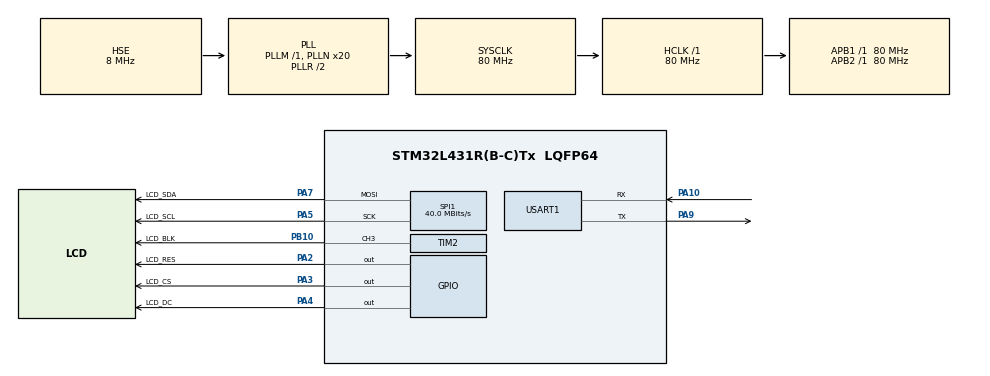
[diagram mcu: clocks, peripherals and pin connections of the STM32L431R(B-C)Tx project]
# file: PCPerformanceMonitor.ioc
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Dma.Request0=USART1_RX
Dma.Request1=SPI1_TX
Dma.SPI1_TX.1.Direction=DMA_MEMORY_TO_PERIPH
Dma.SPI1_TX.1.Instance=DMA1_Channel3
Dma.SPI1_TX.1.MemDataAlignment=DMA_MDATAALIGN_HALFWORD
Dma.SPI1_TX.1.MemInc=DMA_MINC_ENABLE
Dma.SPI1_TX.1.Mode=DMA_NORMAL
Dma.SPI1_TX.1.PeriphDataAlignment=DMA_PDATAALIGN_HALFWORD
Dma.SPI1_TX.1.PeriphInc=DMA_PINC_DISABLE
Dma.SPI1_TX.1.Priority=DMA_PRIORITY_LOW
Dma.USART1_RX.0.Direction=DMA_PERIPH_TO_MEMORY
Dma.USART1_RX.0.Instance=DMA1_Channel5
Dma.USART1_RX.0.MemDataAlignment=DMA_MDATAALIGN_BYTE
Dma.USART1_RX.0.MemInc=DMA_MINC_ENABLE
Dma.USART1_RX.0.Mode=DMA_NORMAL
Dma.USART1_RX.0.PeriphDataAlignment=DMA_PDATAALIGN_BYTE
Dma.USART1_RX.0.PeriphInc=DMA_PINC_DISABLE
Dma.USART1_RX.0.Priority=DMA_PRIORITY_MEDIUM
Mcu.Family=STM32L4
Mcu.Name=STM32L431R(B-C)Tx
Mcu.Package=LQFP64
NVIC.DMA1_Channel3_IRQn=true\:14\:0\:true\:false\:true\:false\:true\:true
NVIC.DMA1_Channel5_IRQn=true\:13\:0\:true\:false\:true\:false\:true\:true
NVIC.PriorityGroup=NVIC_PRIORITYGROUP_4
NVIC.TIM1_BRK_TIM15_IRQn=true\:10\:0\:true\:false\:true\:true\:true\:true
NVIC.TIM7_IRQn=true\:0\:0\:true\:false\:true\:false\:true\:true
NVIC.TimeBase=TIM7_IRQn
NVIC.TimeBaseIP=TIM7
NVIC.USART1_IRQn=true\:15\:0\:true\:false\:true\:true\:true\:true
PA10.Mode=Asynchronous
PA10.Signal=USART1_RX
PA13\ (JTMS-SWDIO).Mode=Serial_Wire
PA13\ (JTMS-SWDIO).Signal=SYS_JTMS-SWDIO
PA14\ (JTCK-SWCLK).Mode=Serial_Wire
PA14\ (JTCK-SWCLK).Signal=SYS_JTCK-SWCLK
PA2.GPIO_Label=LCD_RES
PA2.GPIO_Speed=GPIO_SPEED_FREQ_HIGH
PA2.PinState=GPIO_PIN_SET
PA2.Signal=GPIO_Output
PA3.GPIO_Label=LCD_CS
PA3.GPIO_Speed=GPIO_SPEED_FREQ_HIGH
PA3.PinState=GPIO_PIN_SET
PA3.Signal=GPIO_Output
PA4.GPIO_Label=LCD_DC
PA4.GPIO_Speed=GPIO_SPEED_FREQ_HIGH
PA4.PinState=GPIO_PIN_SET
PA4.Signal=GPIO_Output
PA5.GPIO_Label=LCD_SCL
PA5.Mode=TX_Only_Simplex_Unidirect_Master
PA5.Signal=SPI1_SCK
PA7.GPIO_Label=LCD_SDA
PA7.Mode=TX_Only_Simplex_Unidirect_Master
PA7.Signal=SPI1_MOSI
PA9.Mode=Asynchronous
PA9.Signal=USART1_TX
PB10.GPIO_Label=LCD_BLK
PB10.GPIO_Speed=GPIO_SPEED_FREQ_LOW
PB10.Signal=S_TIM2_CH3
PH0-OSC_IN\ (PH0).Mode=HSE-External-Oscillator
PH0-OSC_IN\ (PH0).Signal=RCC_OSC_IN
PH1-OSC_OUT\ (PH1).Mode=HSE-External-Oscillator
PH1-OSC_OUT\ (PH1).Signal=RCC_OSC_OUT
ProjectManager.HeapSize=0x200
ProjectManager.StackSize=0x800
ProjectManager.TargetToolchain=MDK-ARM V5.32
RCC.ADCFreq_Value=32000000
RCC.AHBFreq_Value=80000000
RCC.APB1Freq_Value=80000000
RCC.APB1TimFreq_Value=80000000
RCC.APB2Freq_Value=80000000
RCC.APB2TimFreq_Value=80000000
RCC.CortexFreq_Value=80000000
RCC.HCLKFreq_Value=80000000
RCC.HSE_VALUE=8000000
RCC.HSI48_VALUE=48000000
RCC.HSI_VALUE=16000000
RCC.LSE_VALUE=32768
RCC.MSI_VALUE=4000000
RCC.PLLN=20
RCC.PLLSourceVirtual=RCC_PLLSOURCE_HSE
RCC.SYSCLKFreq_VALUE=80000000
RCC.SYSCLKSource=RCC_SYSCLKSOURCE_PLLCLK
RCC.USART1CLockSelection=RCC_USART1CLKSOURCE_SYSCLK
RCC.VCOOutputFreq_Value=160000000
SH.S_TIM2_CH3.0=TIM2_CH3,PWM Generation3 CH3
SPI1.BaudRatePrescaler=SPI_BAUDRATEPRESCALER_2
SPI1.CLKPhase=SPI_PHASE_2EDGE
SPI1.CLKPolarity=SPI_POLARITY_HIGH
SPI1.CalculateBaudRate=40.0 MBits/s
SPI1.DataSize=SPI_DATASIZE_8BIT
SPI1.Direction=SPI_DIRECTION_2LINES
SPI1.Mode=SPI_MODE_MASTER
SPI1.VirtualType=VM_MASTER
TIM15.AutoReloadPreload=TIM_AUTORELOAD_PRELOAD_ENABLE
TIM15.Period=999
TIM15.Prescaler=79
TIM2.Channel-PWM\ Generation3\ CH3=TIM_CHANNEL_3
TIM2.Period=999
TIM2.Prescaler=79
TIM2.Pulse-PWM\ Generation3\ CH3=999
USART1.VirtualMode-Asynchronous=VM_ASYNC
VP_SYS_VS_tim7.Mode=TIM7
VP_TIM15_VS_ClockSourceINT.Mode=Internal
VP_TIM2_VS_ClockSourceINT.Mode=Internal
board=custom

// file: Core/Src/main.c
/* USER CODE BEGIN Header */
/**
  ******************************************************************************
  * @file           : main.c
  * @brief          : Main program body
  ******************************************************************************
  * @attention
  *
  * Copyright (c) 2022 STMicroelectronics.
  * All rights reserved.
  *
  * This software is licensed under terms that can be found in the LICENSE file
  * in the root directory of this software component.
  * If no LICENSE file comes with this software, it is provided AS-IS.
  *
  ******************************************************************************
  */
/* USER CODE END Header */
#include "main.h"
#include "dma.h"
#include "spi.h"
#include "tim.h"
#include "usart.h"
#include "gpio.h"

/* USER CODE BEGIN Includes */
#include "userusart.h"
#include "lvglapp.h"
#include "lcd.h"
#include "lvgl.h"
#include "lv_port_disp.h"
/* USER CODE END Includes */

/* USER CODE BEGIN PV */
static TaskHandle_t AppTaskCreate_Handle = NULL; 	/* 创建任务句柄 */
TaskHandle_t UsartDataAnalysis_Handle;						/* 串口数据解析任务句柄 */
TaskHandle_t UIInterface_Handle;									/* 界面任务句柄 */
TaskHandle_t LVGL_TASK_Handle;										/* lvgl系统任务句柄 */
/* USER CODE END PV */

void SystemClock_Config(void);
/* USER CODE BEGIN PFP */

static void AppTaskCreate(void);/* 用于创建任务 */
static void Hardware_Init(void);/* 用于初始化板载相关资源 */

/* USER CODE END PFP */

/* USER CODE BEGIN 0 */
//uint16_t colorTest[256]={	0xFFFF,0xFFFF,0xFFFF,0xFFFF,0xFFFF,0xFFFF,0xFFFF,0xFFFF,0xFFFF,0xFFFF,0xFFFF,0xFFFF,0xFFFF,0xFFFF,0xFFFF,0xFFFF,
//													0xFFFF,0xFFFF,0xFFFF,0xFFFF,0xFFFF,0xFFFF,0xFFFF,0xFFFF,0xFFFF,0xFFFF,0xFFFF,0xFFFF,0xFFFF,0xFFFF,0xFFFF,0xFFFF,
//													0xFFFF,0xFFFF,0xFFFF,0xFFFF,0xFFFF,0xFFFF,0xFFFF,0xFFFF,0xFFFF,0xFFFF,0xFFFF,0xFFFF,0xFFFF,0xFFFF,0xFFFF,0xFFFF,
//													0xFFFF,0xFFFF,0xFFFF,0xFFFF,0xFFFF,0xFFFF,0xFFFF,0xFFFF,0xFFFF,0xFFFF,0xFFFF,0xFFFF,0xFFFF,0xFFFF,0xFFFF,0xFFFF,
//													0xFFFF,0xFFFF,0xFFFF,0xFFFF,0xFFFF,0xFFFF,0xFFFF,0xFFFF,0xFFFF,0xFFFF,0xFFFF,0xFFFF,0xFFFF,0xFFFF,0xFFFF,0xFFFF,
//													0xFFFF,0xFFFF,0xFFFF,0xFFFF,0xFFFF,0xFFFF,0xFFFF,0xFFFF,0xFFFF,0xFFFF,0xFFFF,0xFFFF,0xFFFF,0xFFFF,0xFFFF,0xFFFF,
//													0xFFFF,0xFFFF,0xFFFF,0xFFFF,0xFFFF,0xFFFF,0xFFFF,0xFFFF,0xFFFF,0xFFFF,0xFFFF,0xFFFF,0xFFFF,0xFFFF,0xFFFF,0xFFFF,
//													0xFFFF,0xFFFF,0xFFFF,0xFFFF,0xFFFF,0xFFFF,0xFFFF,0xFFFF,0xFFFF,0xFFFF,0xFFFF,0xFFFF,0xFFFF,0xFFFF,0xFFFF,0xFFFF,
//													0xFFFF,0xFFFF,0xFFFF,0xFFFF,0xFFFF,0xFFFF,0xFFFF,0xFFFF,0xFFFF,0xFFFF,0xFFFF,0xFFFF,0xFFFF,0xFFFF,0xFFFF,0xFFFF,
//													0xFFFF,0xFFFF,0xFFFF,0xFFFF,0xFFFF,0xFFFF,0xFFFF,0xFFFF,0xFFFF,0xFFFF,0xFFFF,0xFFFF,0xFFFF,0xFFFF,0xFFFF,0xFFFF,
//													0xFFFF,0xFFFF,0xFFFF,0xFFFF,0xFFFF,0xFFFF,0xFFFF,0xFFFF,0xFFFF,0xFFFF,0xFFFF,0xFFFF,0xFFFF,0xFFFF,0xFFFF,0xFFFF,
//													0xFFFF,0xFFFF,0xFFFF,0xFFFF,0xFFFF,0xFFFF,0xFFFF,0xFFFF,0xFFFF,0xFFFF,0xFFFF,0xFFFF,0xFFFF,0xFFFF,0xFFFF,0xFFFF,
//													0xFFFF,0xFFFF,0xFFFF,0xFFFF,0xFFFF,0xFFFF,0xFFFF,0xFFFF,0xFFFF,0xFFFF,0xFFFF,0xFFFF,0xFFFF,0xFFFF,0xFFFF,0xFFFF,
//													0xFFFF,0xFFFF,0xFFFF,0xFFFF,0xFFFF,0xFFFF,0xFFFF,0xFFFF,0xFFFF,0xFFFF,0xFFFF,0xFFFF,0xFFFF,0xFFFF,0xFFFF,0xFFFF,
//													0xFFFF,0xFFFF,0xFFFF,0xFFFF,0xFFFF,0xFFFF,0xFFFF,0xFFFF,0xFFFF,0xFFFF,0xFFFF,0xFFFF,0xFFFF,0xFFFF,0xFFFF,0xFFFF,
//													0xFFFF,0xFFFF,0xFFFF,0xFFFF,0xFFFF,0xFFFF,0xFFFF,0xFFFF,0xFFFF,0xFFFF,0xFFFF,0xFFFF,0xFFFF,0xFFFF,0xFFFF,0xFFFF,};
/* USER CODE END 0 */

int main(void)
{
  /* USER CODE BEGIN 1 */
	BaseType_t xReturn = pdPASS;		/* 定义一个创建信息返回值，默认为pdPASS */
  /* USER CODE END 1 */

  /* MCU Configuration--------------------------------------------------------*/

  /* Reset of all peripherals, Initializes the Flash interface and the Systick. */
  HAL_Init();

  /* Configure the system clock */
  SystemClock_Config();

  /* Initialize all configured peripherals */
  MX_GPIO_Init();
  MX_DMA_Init();
  MX_USART1_UART_Init();
  MX_TIM2_Init();
  MX_SPI1_Init();
  MX_TIM15_Init();
  /* USER CODE BEGIN 2 */
	Hardware_Init();

	/* 创建AppTaskCreate任务 */
	xReturn = xTaskCreate((TaskFunction_t )AppTaskCreate,  /* 任务入口函数 */
                        (const char*    )"AppTaskCreate",/* 任务名字 */
                        (uint16_t       )256,  /* 任务栈大小 */
                        (void*          )NULL,/* 任务入口函数参数 */
                        (UBaseType_t    )1, /* 任务的优先级 */
                        (TaskHandle_t*  )&AppTaskCreate_Handle);/* 任务控制块指针 */
  /* 启动任务调度 */
  if(pdPASS == xReturn)
    vTaskStartScheduler();   /* 启动任务，开启调度 */
  else
    return -1;

  /* USER CODE END 2 */

  /* Infinite loop */
  while (1)
  {

  }
}

void SystemClock_Config(void)
{
  RCC_OscInitTypeDef RCC_OscInitStruct = {0};
  RCC_ClkInitTypeDef RCC_ClkInitStruct = {0};

  /** Configure the main internal regulator output voltage
  */
  if (HAL_PWREx_ControlVoltageScaling(PWR_REGULATOR_VOLTAGE_SCALE1) != HAL_OK)
  {
    Error_Handler();
  }

  /** Initializes the RCC Oscillators according to the specified parameters
  * in the RCC_OscInitTypeDef structure.
  */
  RCC_OscInitStruct.OscillatorType = RCC_OSCILLATORTYPE_HSE;
  RCC_OscInitStruct.HSEState = RCC_HSE_ON;
  RCC_OscInitStruct.PLL.PLLState = RCC_PLL_ON;
  RCC_OscInitStruct.PLL.PLLSource = RCC_PLLSOURCE_HSE;
  RCC_OscInitStruct.PLL.PLLM = 1;
  RCC_OscInitStruct.PLL.PLLN = 20;
  RCC_OscInitStruct.PLL.PLLP = RCC_PLLP_DIV7;
  RCC_OscInitStruct.PLL.PLLQ = RCC_PLLQ_DIV2;
  RCC_OscInitStruct.PLL.PLLR = RCC_PLLR_DIV2;
  if (HAL_RCC_OscConfig(&RCC_OscInitStruct) != HAL_OK)
  {
    Error_Handler();
  }

  /** Initializes the CPU, AHB and APB buses clocks
  */
  RCC_ClkInitStruct.ClockType = RCC_CLOCKTYPE_HCLK|RCC_CLOCKTYPE_SYSCLK
                              |RCC_CLOCKTYPE_PCLK1|RCC_CLOCKTYPE_PCLK2;
  RCC_ClkInitStruct.SYSCLKSource = RCC_SYSCLKSOURCE_PLLCLK;
  RCC_ClkInitStruct.AHBCLKDivider = RCC_SYSCLK_DIV1;
  RCC_ClkInitStruct.APB1CLKDivider = RCC_HCLK_DIV1;
  RCC_ClkInitStruct.APB2CLKDivider = RCC_HCLK_DIV1;

  if (HAL_RCC_ClockConfig(&RCC_ClkInitStruct, FLASH_LATENCY_4) != HAL_OK)
  {
    Error_Handler();
  }
}

/* USER CODE BEGIN 4 */
static void AppTaskCreate(void)
{
  taskENTER_CRITICAL();	//进入临界区

  xTaskCreate((TaskFunction_t )UsartDataAnalysis_Task, 			/* 任务入口函数 */
              (const char*    )"UsartDataAnalysis_Task",		/* 任务名字 */
              (uint16_t       )512,   											/* 任务栈大小 */
              (void*          )NULL,												/* 任务入口函数参数 */
              (UBaseType_t    )8,	    											/* 任务的优先级 */
              (TaskHandle_t*  )&UsartDataAnalysis_Handle);	/* 任务控制块指针 */

  xTaskCreate((TaskFunction_t )UIInterface_Task, 						/* 任务入口函数 */
              (const char*    )"UIInterface_Task",					/* 任务名字 */
              (uint16_t       )1024,   											/* 任务栈大小 */
              (void*          )NULL,												/* 任务入口函数参数 */
              (UBaseType_t    )7,	    											/* 任务的优先级 */
              (TaskHandle_t*  )&UIInterface_Handle);				/* 任务控制块指针 */

  xTaskCreate((TaskFunction_t )LVGL_TASK, 									/* 任务入口函数 */
              (const char*    )"LVGL_TASK",									/* 任务名字 */
              (uint16_t       )512,   											/* 任务栈大小 */
              (void*          )NULL,												/* 任务入口函数参数 */
              (UBaseType_t    )6,	    											/* 任务的优先级 */
              (TaskHandle_t*  )&LVGL_TASK_Handle);					/* 任务控制块指针 */

  vTaskDelete(AppTaskCreate_Handle); 	//删除AppTaskCreate任务
  taskEXIT_CRITICAL();	//退出临界区
}

static void Hardware_Init(void)
{
//	printf("OK\r\n");
	LCD_Init();//LCD初始化
	HAL_TIM_Base_Start_IT(&htim15);
	lv_init(); //lvgl 系统初始化
	lv_port_disp_init();
}

/* USER CODE END 4 */

void HAL_TIM_PeriodElapsedCallback(TIM_HandleTypeDef *htim)
{
  if (htim->Instance == TIM7) {
    HAL_IncTick();
  }
  /* USER CODE BEGIN Callback 1 */
	if (htim == (&htim15))
	{
		lv_tick_inc(2);//lvgl 的 1ms 心跳
	}
  /* USER CODE END Callback 1 */
}

void Error_Handler(void)
{
  __disable_irq();
  while (1)
  {
  }
}
